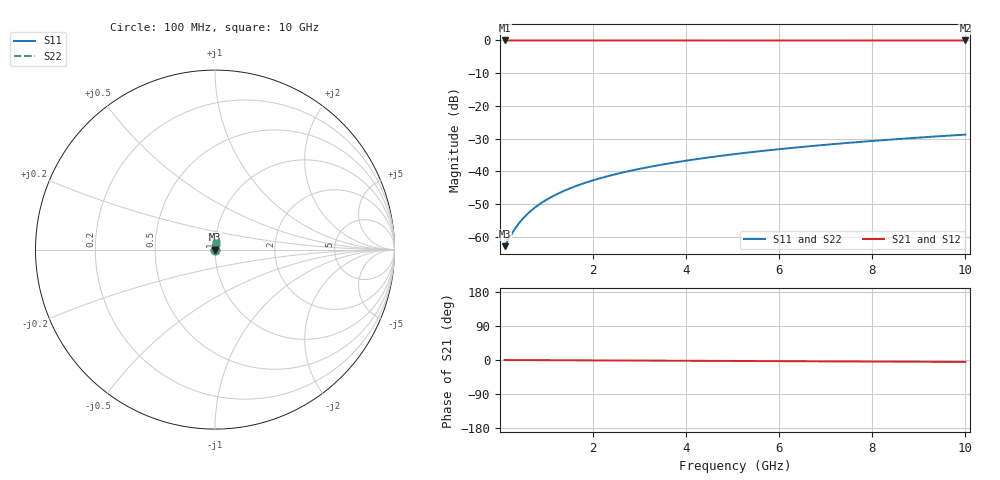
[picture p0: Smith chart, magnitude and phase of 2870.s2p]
# Hz S RI R 50.00
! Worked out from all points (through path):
!   100 points, 100 MHz to 10 GHz, reference 50 ohm
!   highest |S21| = -0.01 dB at 100 MHz (marker M1); lowest = 0.0 dB at 10 GHz (marker M2)
!   lowest |S11| = -62.8 dB at 100 MHz (marker M3), VSWR 1.00, Z = 50.1 + j0.0364 ohm
!   |S11| at or under -10 dB: start of sweep to end of sweep
!   |S22| runs from -62.8 to -28.8 dB; largest |S21 - S12| = 0
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1e8  0.000625 0.000364  0.9994 -0.000888  0.9994 -0.000888  0.000625 0.000364
2e8  0.000629 0.000727  0.9994 -0.00178  0.9994 -0.00178  0.000629 0.000727
3e8  0.000634 0.00109  0.9994 -0.00267  0.9994 -0.00267  0.000634 0.00109
4e8  0.000638 0.00145  0.9994 -0.00355  0.9994 -0.00355  0.000638 0.00145
5e8  0.000643 0.00182  0.9993 -0.00444  0.9993 -0.00444  0.000643 0.00182
6e8  0.000649 0.00218  0.9993 -0.00533  0.9993 -0.00533  0.000649 0.00218
7e8  0.000654 0.00255  0.9993 -0.00622  0.9993 -0.00622  0.000654 0.00255
9e8  0.000667 0.00327  0.9993 -0.008  0.9993 -0.008  0.000667 0.00327
1e9  0.000674 0.00364  0.9993 -0.00889  0.9993 -0.00889  0.000674 0.00364
1.2e9  0.000691 0.00436  0.9993 -0.0107  0.9993 -0.0107  0.000691 0.00436
1.5e9  0.00072 0.00545  0.9992 -0.0133  0.9992 -0.0133  0.00072 0.00545
1.8e9  0.000754 0.00655  0.9992 -0.016  0.9992 -0.016  0.000754 0.00655
2.1e9  0.000794 0.00764  0.9991 -0.0187  0.9991 -0.0187  0.000794 0.00764
2.5e9  0.000856 0.00909  0.999 -0.0222  0.999 -0.0222  0.000856 0.00909
2.9e9  0.000928 0.0105  0.9989 -0.0258  0.9989 -0.0258  0.000928 0.0105
3.4e9  0.00103 0.0124  0.9988 -0.0302  0.9988 -0.0302  0.00103 0.0124
4.2e9  0.00123 0.0153  0.9985 -0.0373  0.9985 -0.0373  0.00123 0.0153
5.1e9  0.00151 0.0185  0.9981 -0.0454  0.9981 -0.0454  0.00151 0.0185
5.9e9  0.0018 0.0214  0.9977 -0.0525  0.9977 -0.0525  0.0018 0.0214
6.7e9  0.00213 0.0243  0.9972 -0.0596  0.9972 -0.0596  0.00213 0.0243
8.4e9  0.00297 0.0305  0.996 -0.0748  0.996 -0.0748  0.00297 0.0305
1e10  0.00394 0.0363  0.9946 -0.0891  0.9946 -0.0891  0.00394 0.0363
